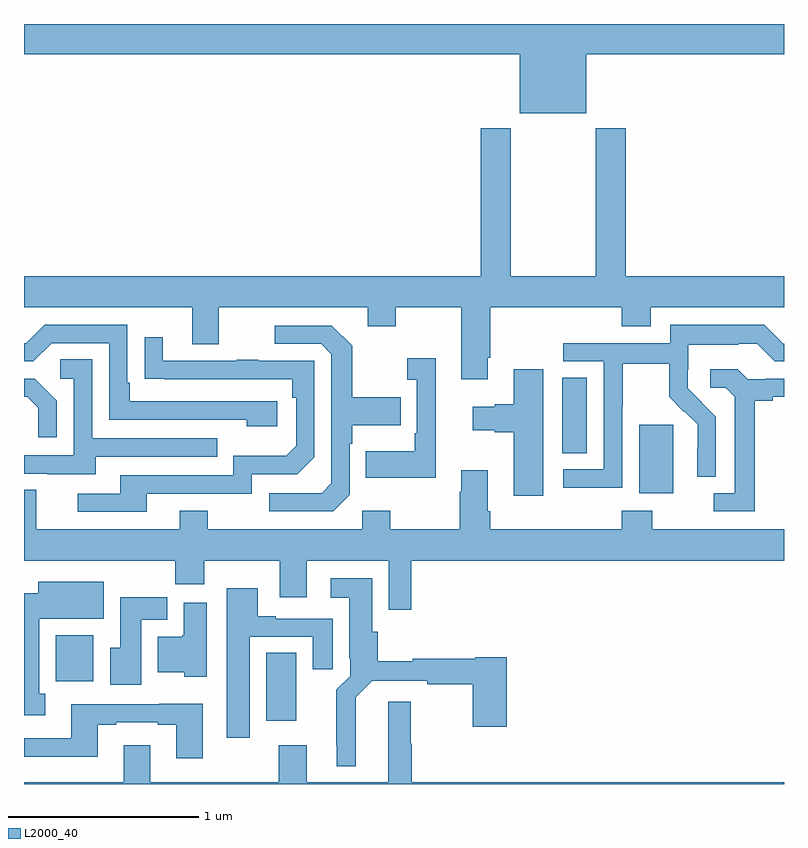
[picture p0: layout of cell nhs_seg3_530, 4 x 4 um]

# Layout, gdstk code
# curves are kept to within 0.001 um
import gdstk
lib = gdstk.Library(unit=1e-6, precision=1e-09)
def R(c, l, rs):  # rectangles x0, y0, x1, y1
    for r in rs: c.add(gdstk.rectangle(r[:2], r[2:], *l))
def P(c, l, *ps):  # polygons
    for p in ps: c.add(gdstk.Polygon(p, *l))
L2000_40 = (2000, 40)

nhs_seg3_530 = lib.new_cell('nhs_seg3_530')
R(nhs_seg3_530, L2000_40, [(138.275,706.734,138.433,707.09), (137.168,706.94,137.365,707.182), (140.237,707.93,140.416,708.291), (139.832,708.142,139.963,708.539)])
P(nhs_seg3_530, L2000_40, [(139.96,710.24),(141,710.24),(141,710.4),(137,710.4),(137,710.24),(139.61,710.24),(139.61,709.931),(139.96,709.931)],
  [(139.441,708.643),(139.454,708.643),(139.454,708.908),(140.147,708.908),(140.147,708.809),(140.299,708.809),(140.299,708.908),(141,708.908),(141,709.072),(140.168,709.072),(140.168,709.852),(140.008,709.852),(140.008,709.072),(139.563,709.072),(139.563,709.852),(139.403,709.852),(139.403,709.072),(137,709.072),(137,708.908),(137.885,708.908),(137.885,708.714),(138.025,708.714),(138.025,708.908),(138.809,708.908),(138.809,708.809),(138.957,708.809),(138.957,708.908),(139.301,708.908),(139.301,708.531),(139.441,708.531)],
  [(140.148,708.388),(140.151,708.388),(140.151,708.612),(140.395,708.612),(140.395,708.437),(140.472,708.36),(140.475,708.363),(140.546,708.293),(140.546,708.17),(140.544,708.17),(140.544,708.016),(140.64,708.016),(140.64,708.334),(140.494,708.482),(140.494,708.579),(140.496,708.579),(140.496,708.713),(140.759,708.713),(140.759,708.717),(140.859,708.717),(140.952,708.624),(141,708.624),(141,708.717),(140.997,708.717),(140.897,708.817),(140.4,708.817),(140.4,708.72),(139.839,708.72),(139.839,708.624),(140.052,708.624),(140.052,708.057),(139.839,708.057),(139.839,707.959),(140.148,707.959)],
  [(138.334,708.414),(137.557,708.414),(137.557,708.511),(137.544,708.511),(137.544,708.816),(137.109,708.816),(137.013,708.72),(137,708.72),(137,708.624),(137.049,708.624),(137.145,708.72),(137.448,708.72),(137.448,708.318),(138.173,708.318),(138.173,708.284),(138.334,708.284)],
  [(138.714,707.922),(138.714,708.191),(138.727,708.191),(138.727,708.287),(138.983,708.287),(138.983,708.435),(138.727,708.435),(138.727,708.707),(138.621,708.813),(138.321,708.813),(138.321,708.717),(138.564,708.717),(138.618,708.663),(138.618,707.982),(138.567,707.931),(138.291,707.931),(138.291,707.835),(138.627,707.835)],
  [(137.647,707.928),(138.198,707.928),(138.198,708.03),(138.438,708.03),(138.528,708.12),(138.528,708.627),(138.233,708.627),(138.233,708.632),(138.121,708.632),(138.121,708.627),(137.731,708.627),(137.731,708.751),(137.635,708.751),(137.635,708.532),(138.412,708.531),(138.412,708.434),(138.432,708.434),(138.432,708.18),(138.379,708.127),(138.102,708.127),(138.102,708.024),(137.507,708.024),(137.507,707.928),(137.283,707.928),(137.283,707.832),(137.647,707.832)],
  [(139.166,708.64),(139.017,708.64),(139.017,708.527),(139.068,708.527),(139.068,708.247),(139.056,708.247),(139.056,708.151),(138.799,708.151),(138.799,708.011),(139.166,708.011)],
  [(137.377,708.123),(138.017,708.123),(138.017,708.219),(137.358,708.219),(137.358,708.635),(137.19,708.635),(137.19,708.534),(137.262,708.534),(137.262,708.129),(137,708.129),(137,708.033),(137.123,708.033),(137.123,708.029),(137.377,708.029)],
  [(139.732,708.583),(139.577,708.583),(139.577,708.398),(139.478,708.398),(139.478,708.385),(139.362,708.385),(139.362,708.263),(139.478,708.263),(139.478,708.251),(139.577,708.251),(139.577,707.916),(139.732,707.916)],
  [(140.845,708.416),(140.941,708.416),(140.941,708.438),(141,708.438),(141,708.534),(140.902,708.534),(140.902,708.531),(140.808,708.531),(140.756,708.583),(140.613,708.583),(140.613,708.486),(140.694,708.486),(140.741,708.439),(140.741,707.931),(140.631,707.931),(140.631,707.835),(140.845,707.835)],
  [(137.172,708.418),(137.056,708.534),(137,708.534),(137,708.438),(137.018,708.438),(137.075,708.381),(137.075,708.225),(137.172,708.225)],
  [(139.037,707.576),(141,707.576),(141,707.74),(140.307,707.74),(140.307,707.839),(140.147,707.839),(140.147,707.74),(139.454,707.74),(139.454,707.836),(139.441,707.836),(139.441,708.052),(139.301,708.052),(139.301,707.939),(139.294,707.939),(139.294,707.74),(138.927,707.74),(138.927,707.839),(138.78,707.839),(138.78,707.74),(137.967,707.74),(137.967,707.839),(137.819,707.839),(137.819,707.74),(137.065,707.74),(137.065,707.948),(137,707.948),(137,707.576),(137.797,707.576),(137.797,707.452),(137.949,707.452),(137.949,707.576),(138.347,707.576),(138.347,707.382),(138.487,707.382),(138.487,707.576),(138.921,707.576),(138.921,707.316),(139.037,707.316)],
  [(138.745,706.856),(138.832,706.944),(139.123,706.944),(139.123,706.924),(139.363,706.924),(139.363,706.701),(139.541,706.701),(139.541,707.068),(139.374,707.068),(139.374,707.06),(139.046,707.06),(139.046,707.045),(138.863,707.045),(138.863,707.202),(138.832,707.202),(138.832,707.482),(138.615,707.482),(138.615,707.381),(138.713,707.381),(138.713,707.062),(138.717,707.062),(138.717,706.968),(138.644,706.895),(138.644,706.603),(138.647,706.603),(138.647,706.493),(138.745,706.493)],
  [(137.113,706.874),(137.08,706.874),(137.08,707.27),(137.419,707.27),(137.419,707.464),(137.075,707.464),(137.075,707.404),(137,707.404),(137,706.761),(137.113,706.761)],
  [(138.187,707.175),(138.521,707.175),(138.521,707.004),(138.625,707.004),(138.625,707.271),(138.325,707.271),(138.325,707.284),(138.229,707.284),(138.229,707.431),(138.068,707.431),(138.068,706.644),(138.187,706.644)],
  [(137.617,707.264),(137.755,707.264),(137.755,707.382),(137.507,707.382),(137.507,707.116),(137.453,707.116),(137.453,706.923),(137.617,706.923)],
  [(137.962,707.353),(137.84,707.353),(137.84,707.182),(137.834,707.182),(137.834,707.176),(137.705,707.176),(137.705,706.988),(137.844,706.988),(137.844,706.964),(137.962,706.964)],
  [(141,706.408),(139.04,706.408),(139.04,706.613),(139.035,706.613),(139.035,706.834),(138.917,706.834),(138.917,706.408),(138.487,706.408),(138.487,706.603),(138.34,706.603),(138.34,706.408),(137.665,706.408),(137.665,706.603),(137.525,706.603),(137.525,706.408),(137,706.408),(137,706.4),(141,706.4)],
  [(137.941,706.822),(137.713,706.822),(137.713,706.821),(137.249,706.821),(137.249,706.641),(137,706.641),(137,706.544),(137.389,706.544),(137.389,706.713),(137.485,706.713),(137.485,706.725),(137.705,706.725),(137.705,706.713),(137.801,706.713),(137.801,706.536),(137.941,706.536)])

lib.write_gds('nhs_seg3_530.gds')
